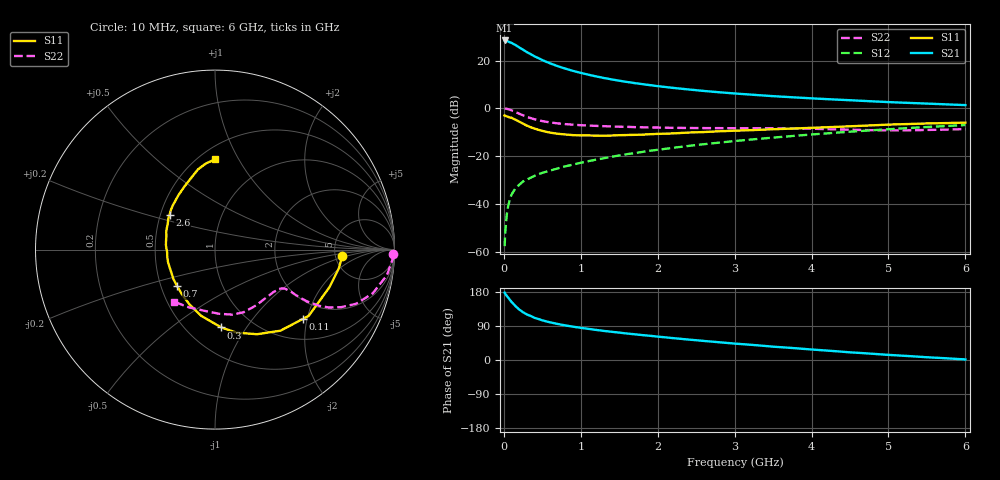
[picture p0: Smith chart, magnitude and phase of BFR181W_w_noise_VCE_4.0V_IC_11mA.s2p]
! Infineon Technologies  Discrete & RF Semiconductors
! BFR181W
! VCE =  4.0 V,  IC =  11 mA
! Common Emitter S-Parameters:  Jan 2017
# GHz  S  MA  R  50
!  f  S11  S21  S12  S22
! GHz  MAG  ANG  MAG  ANG  MAG  ANG  MAG  ANG
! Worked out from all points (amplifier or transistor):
!   77 points, 10 MHz to 6 GHz, reference 50 ohm
!   highest |S21| = 28.4 dB at 10 MHz (marker M1)
!   |S21| within 3 dB of that: start of sweep to 204.8 MHz
!   unconditionally stable (mu >= 1): 923 MHz to 2.86 GHz
!   at 130 MHz: K = 0.30, MSG = 30.7 dB, |S12| = -34.6 dB
!   at 2.2 GHz: K = 1.05, MAG = 11.2 dB, |S12| = -16.5 dB
!   at 6 GHz: K = 0.84, MSG = 4.2 dB, |S12| = -7.0 dB
!   lowest NFmin = 1.29 dB at 450 MHz
!   S11 on the Smith chart (normalised r, x): 10 MHz: 5.78, -0.84; 110 MHz: 1.49, -1.89; 300 MHz: 0.72, -0.77; 700 MHz: 0.61, -0.27; 2.6 GHz: 0.56, +0.24; 6 GHz: 0.60, +0.80
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0.01  0.7102 -2.9  26.43 177.7  0.0013 83.2  0.9904 -1.5
0.02  0.6977 -8.6  26.18 174.0  0.0027 94.6  0.9911 -3.1
0.05  0.6714 -18.1  25.39 166.1  0.008 79.2  0.9694 -8.3
0.1  0.6395 -35.3  23.53 153.1  0.0156 75.5  0.912 -15.5
0.11  0.6241 -38.2  23.02 151.1  0.0166 73.7  0.8974 -16.5
0.15  0.5806 -51.1  21.27 142.4  0.0209 68.2  0.8423 -21.0
0.2  0.5263 -63.6  18.91 133.2  0.0251 67.0  0.7729 -24.5
0.25  0.4783 -75.4  16.89 126.0  0.0295 63.5  0.7134 -26.9
0.3  0.4349 -85.4  15.04 120.1  0.0323 62.2  0.6619 -28.3
0.4  0.3771 -101.7  12.28 111.2  0.0386 61.7  0.5894 -29.4
0.5  0.3375 -114.8  10.25 104.7  0.0446 62.0  0.5407 -29.5
0.6  0.3107 -126.0  8.783 99.4  0.0497 63.1  0.5085 -29.3
0.7  0.2937 -135.9  7.653 95.1  0.0552 64.7  0.4847 -29.0
0.9  0.2748 -152.1  6.087 87.9  0.0664 66.0  0.4546 -29.1
1.1  0.2707 -165.0  5.065 82.1  0.0783 67.2  0.4367 -29.7
1.5  0.2742 175.3  3.795 72.3  0.1031 68.4  0.4127 -32.8
2.1  0.295 154.9  2.801 59.8  0.1423 67.5  0.3936 -41.1
2.6  0.3191 142.4  2.316 50.3  0.1774 65.8  0.3864 -49.9
3.1  0.3445 131.7  1.997 41.8  0.214 63.2  0.3832 -58.8
4.1  0.3967 114.1  1.591 26.3  0.2914 56.4  0.3705 -77.2
5.1  0.4617 100.7  1.333 12.3  0.3735 47.9  0.3457 -103.0
6  0.5021 90.1  1.17 1.5  0.4475 39.1  0.3688 -128.0
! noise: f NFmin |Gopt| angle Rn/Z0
0.45  1.29  0.12  17  0.21
0.9  1.33  0.12  31  0.21
1.9  1.76  0.04  -171  0.2
2.4  1.95  0.05  -122  0.25
